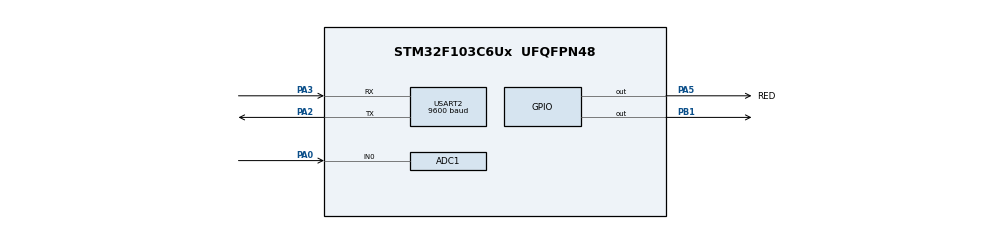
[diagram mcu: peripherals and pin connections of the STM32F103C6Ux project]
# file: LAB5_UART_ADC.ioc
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ADC1.Channel-0\#ChannelRegularConversion=ADC_CHANNEL_0
ADC1.ContinuousConvMode=ENABLE
ADC1.NbrOfConversionFlag=1
ADC1.Rank-0\#ChannelRegularConversion=1
ADC1.SamplingTime-0\#ChannelRegularConversion=ADC_SAMPLETIME_1CYCLE_5
ADC1.master=1
Mcu.Family=STM32F1
Mcu.Name=STM32F103C6Ux
Mcu.Package=UFQFPN48
NVIC.PriorityGroup=NVIC_PRIORITYGROUP_4
NVIC.TIM2_IRQn=true\:0\:0\:false\:false\:true\:true\:true\:true
NVIC.USART2_IRQn=true\:0\:0\:false\:false\:true\:true\:true\:true
PA0-WKUP.Signal=ADCx_IN0
PA2.Mode=Asynchronous
PA2.Signal=USART2_TX
PA3.Mode=Asynchronous
PA3.Signal=USART2_RX
PA5.GPIO_Label=RED
PA5.Signal=GPIO_Output
PB1.Signal=GPIO_Output
ProjectManager.HeapSize=0x200
ProjectManager.StackSize=0x400
ProjectManager.TargetToolchain=STM32CubeIDE
RCC.APB1Freq_Value=8000000
RCC.APB2Freq_Value=8000000
SH.ADCx_IN0.0=ADC1_IN0,IN0
TIM2.Period=9
TIM2.Prescaler=7999
USART2.BaudRate=9600
USART2.VirtualMode=VM_ASYNC
VP_TIM2_VS_ClockSourceINT.Mode=Internal
board=custom

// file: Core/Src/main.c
/* USER CODE BEGIN Header */
/**
 ******************************************************************************
 * @file           : main.c
 * @brief          : Main program body
 ******************************************************************************
 * @attention
 *
 * Copyright (c) 2023 STMicroelectronics.
 * All rights reserved.
 *
 * This software is licensed under terms that can be found in the LICENSE file
 * in the root directory of this software component.
 * If no LICENSE file comes with this software, it is provided AS-IS.
 *
 ******************************************************************************
 */
/* USER CODE END Header */
#include "main.h"

/* USER CODE BEGIN Includes */
#include <stdio.h>
#include <stdlib.h>
#include <string.h>
#include "software_timer.h"
#include "automatic_fsm.h"
/* USER CODE END Includes */

ADC_HandleTypeDef hadc1;

TIM_HandleTypeDef htim2;

UART_HandleTypeDef huart2;

void SystemClock_Config(void);
static void MX_GPIO_Init(void);
static void MX_ADC1_Init(void);
static void MX_USART2_UART_Init(void);
static void MX_TIM2_Init(void);

/* USER CODE BEGIN 0 */
void HAL_UART_RxCpltCallback(UART_HandleTypeDef *huart) {
	if (huart->Instance == USART2) {
		HAL_UART_Transmit(&huart2, &buffer_byte, 1, 500);
		buffer[index_buffer] = buffer_byte;
		index_buffer++;
		if (index_buffer == MAX_BUFFER_SIZE)
			index_buffer = 0;
		buffer_flag = 1;
		HAL_UART_Receive_IT(&huart2, &buffer_byte, 1);
	}
}
/* USER CODE END 0 */

int main(void)
{

  /* MCU Configuration--------------------------------------------------------*/

  /* Reset of all peripherals, Initializes the Flash interface and the Systick. */
  HAL_Init();

  /* Configure the system clock */
  SystemClock_Config();

  /* Initialize all configured peripherals */
  MX_GPIO_Init();
  MX_ADC1_Init();
  MX_USART2_UART_Init();
  MX_TIM2_Init();
  /* USER CODE BEGIN 2 */
	HAL_TIM_Base_Start_IT(&htim2);
	HAL_UART_Receive_IT(&huart2, &buffer_byte, 1);
	HAL_ADC_Start(&hadc1);
	setTimer2(50);
  /* USER CODE END 2 */

  /* Infinite loop */
  /* USER CODE BEGIN WHILE */
	while (1) {
		if (timer2_flag == 1) {
			HAL_GPIO_TogglePin(RED_GPIO_Port, RED_Pin);
			setTimer2(50);
		}
		if (buffer_flag == 1) {
			cmd_parser_fsm();
			buffer_flag = 0;
		}
		uart_comms_fsm();
    /* USER CODE END WHILE */

	}
}

void SystemClock_Config(void)
{
  RCC_OscInitTypeDef RCC_OscInitStruct = {0};
  RCC_ClkInitTypeDef RCC_ClkInitStruct = {0};
  RCC_PeriphCLKInitTypeDef PeriphClkInit = {0};

  /** Initializes the RCC Oscillators according to the specified parameters
  * in the RCC_OscInitTypeDef structure.
  */
  RCC_OscInitStruct.OscillatorType = RCC_OSCILLATORTYPE_HSI;
  RCC_OscInitStruct.HSIState = RCC_HSI_ON;
  RCC_OscInitStruct.HSICalibrationValue = RCC_HSICALIBRATION_DEFAULT;
  RCC_OscInitStruct.PLL.PLLState = RCC_PLL_NONE;
  if (HAL_RCC_OscConfig(&RCC_OscInitStruct) != HAL_OK)
  {
    Error_Handler();
  }

  /** Initializes the CPU, AHB and APB buses clocks
  */
  RCC_ClkInitStruct.ClockType = RCC_CLOCKTYPE_HCLK|RCC_CLOCKTYPE_SYSCLK
                              |RCC_CLOCKTYPE_PCLK1|RCC_CLOCKTYPE_PCLK2;
  RCC_ClkInitStruct.SYSCLKSource = RCC_SYSCLKSOURCE_HSI;
  RCC_ClkInitStruct.AHBCLKDivider = RCC_SYSCLK_DIV1;
  RCC_ClkInitStruct.APB1CLKDivider = RCC_HCLK_DIV1;
  RCC_ClkInitStruct.APB2CLKDivider = RCC_HCLK_DIV1;

  if (HAL_RCC_ClockConfig(&RCC_ClkInitStruct, FLASH_LATENCY_0) != HAL_OK)
  {
    Error_Handler();
  }
  PeriphClkInit.PeriphClockSelection = RCC_PERIPHCLK_ADC;
  PeriphClkInit.AdcClockSelection = RCC_ADCPCLK2_DIV2;
  if (HAL_RCCEx_PeriphCLKConfig(&PeriphClkInit) != HAL_OK)
  {
    Error_Handler();
  }
}

static void MX_ADC1_Init(void)
{

  ADC_ChannelConfTypeDef sConfig = {0};

  /** Common config
  */
  hadc1.Instance = ADC1;
  hadc1.Init.ScanConvMode = ADC_SCAN_DISABLE;
  hadc1.Init.ContinuousConvMode = ENABLE;
  hadc1.Init.DiscontinuousConvMode = DISABLE;
  hadc1.Init.ExternalTrigConv = ADC_SOFTWARE_START;
  hadc1.Init.DataAlign = ADC_DATAALIGN_RIGHT;
  hadc1.Init.NbrOfConversion = 1;
  if (HAL_ADC_Init(&hadc1) != HAL_OK)
  {
    Error_Handler();
  }

  /** Configure Regular Channel
  */
  sConfig.Channel = ADC_CHANNEL_0;
  sConfig.Rank = ADC_REGULAR_RANK_1;
  sConfig.SamplingTime = ADC_SAMPLETIME_1CYCLE_5;
  if (HAL_ADC_ConfigChannel(&hadc1, &sConfig) != HAL_OK)
  {
    Error_Handler();
  }

}

static void MX_TIM2_Init(void)
{

  TIM_ClockConfigTypeDef sClockSourceConfig = {0};
  TIM_MasterConfigTypeDef sMasterConfig = {0};

  htim2.Instance = TIM2;
  htim2.Init.Prescaler = 7999;
  htim2.Init.CounterMode = TIM_COUNTERMODE_UP;
  htim2.Init.Period = 9;
  htim2.Init.ClockDivision = TIM_CLOCKDIVISION_DIV1;
  htim2.Init.AutoReloadPreload = TIM_AUTORELOAD_PRELOAD_DISABLE;
  if (HAL_TIM_Base_Init(&htim2) != HAL_OK)
  {
    Error_Handler();
  }
  sClockSourceConfig.ClockSource = TIM_CLOCKSOURCE_INTERNAL;
  if (HAL_TIM_ConfigClockSource(&htim2, &sClockSourceConfig) != HAL_OK)
  {
    Error_Handler();
  }
  sMasterConfig.MasterOutputTrigger = TIM_TRGO_RESET;
  sMasterConfig.MasterSlaveMode = TIM_MASTERSLAVEMODE_DISABLE;
  if (HAL_TIMEx_MasterConfigSynchronization(&htim2, &sMasterConfig) != HAL_OK)
  {
    Error_Handler();
  }

}

static void MX_USART2_UART_Init(void)
{

  huart2.Instance = USART2;
  huart2.Init.BaudRate = 9600;
  huart2.Init.WordLength = UART_WORDLENGTH_8B;
  huart2.Init.StopBits = UART_STOPBITS_1;
  huart2.Init.Parity = UART_PARITY_NONE;
  huart2.Init.Mode = UART_MODE_TX_RX;
  huart2.Init.HwFlowCtl = UART_HWCONTROL_NONE;
  huart2.Init.OverSampling = UART_OVERSAMPLING_16;
  if (HAL_UART_Init(&huart2) != HAL_OK)
  {
    Error_Handler();
  }

}

static void MX_GPIO_Init(void)
{
  GPIO_InitTypeDef GPIO_InitStruct = {0};

  /* GPIO Ports Clock Enable */
  __HAL_RCC_GPIOA_CLK_ENABLE();
  __HAL_RCC_GPIOB_CLK_ENABLE();

  /*Configure GPIO pin Output Level */
  HAL_GPIO_WritePin(RED_GPIO_Port, RED_Pin, GPIO_PIN_RESET);

  /*Configure GPIO pin Output Level */
  HAL_GPIO_WritePin(GPIOB, GPIO_PIN_1, GPIO_PIN_RESET);

  /*Configure GPIO pin : RED_Pin */
  GPIO_InitStruct.Pin = RED_Pin;
  GPIO_InitStruct.Mode = GPIO_MODE_OUTPUT_PP;
  GPIO_InitStruct.Pull = GPIO_NOPULL;
  GPIO_InitStruct.Speed = GPIO_SPEED_FREQ_LOW;
  HAL_GPIO_Init(RED_GPIO_Port, &GPIO_InitStruct);

  /*Configure GPIO pin : PB1 */
  GPIO_InitStruct.Pin = GPIO_PIN_1;
  GPIO_InitStruct.Mode = GPIO_MODE_OUTPUT_PP;
  GPIO_InitStruct.Pull = GPIO_NOPULL;
  GPIO_InitStruct.Speed = GPIO_SPEED_FREQ_LOW;
  HAL_GPIO_Init(GPIOB, &GPIO_InitStruct);

}

/* USER CODE BEGIN 4 */
void HAL_TIM_PeriodElapsedCallback(TIM_HandleTypeDef *htim) {
	timerRun();
}
/* USER CODE END 4 */

void Error_Handler(void)
{
	__disable_irq();
	while (1) {
	}
}
